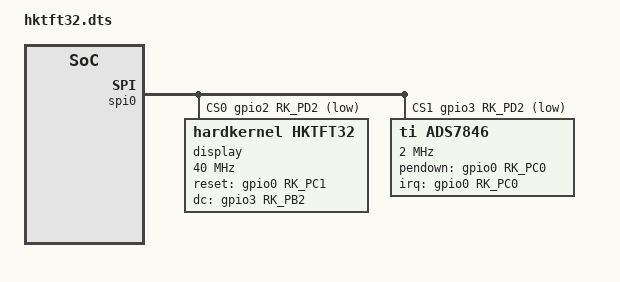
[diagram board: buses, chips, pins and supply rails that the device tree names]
/dts-v1/;
/plugin/;

#include <dt-bindings/gpio/gpio.h>
#include <dt-bindings/pinctrl/rockchip.h>

/ {
	fragment@0 {
		target = <&spi0>;

		__overlay__ {
			#address-cells = <1>;
			#size-cells = <0>;

			status = "okay";

			num_chipselect = <2>;
			cs-gpios = <&gpio2 RK_PD2 GPIO_ACTIVE_LOW>,
				<&gpio3 RK_PD2 GPIO_ACTIVE_LOW>;

			display@0 {
				status = "okay";
				compatible = "hardkernel,hktft32";

				spi-max-frequency = <40000000>;
				reg = <0>;

				rotation = <90>;
				reset-gpios = <&gpio0 RK_PC1 GPIO_ACTIVE_HIGH>;
				dc-gpios = <&gpio3 RK_PB2 GPIO_ACTIVE_HIGH>;
			};

			ads7846@1 {
				status = "okay";
				compatible = "ti,ads7846";

				spi-max-frequency = <2000000>;
				reg = <1>;

				interrupt-parent = <&gpio0>;
				interrupts = <RK_PC0 0>;
				pendown-gpio = <&gpio0 RK_PC0 GPIO_ACTIVE_HIGH>;

				ti,swap-xy = <1>;
				ti,x-min = /bits/ 16 <0>;
				ti,x-max = /bits/ 16 <8000>;
				ti,y-min = /bits/ 16 <0>;
				ti,y-max = /bits/ 16 <4800>;
				ti,x-plate-ohms = /bits/ 16 <40>;
				ti,pressure-max = /bits/ 16 <255>;
			};
		};
	};
};

